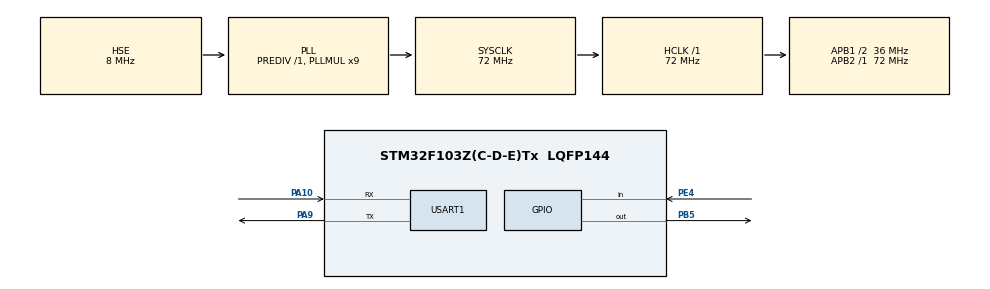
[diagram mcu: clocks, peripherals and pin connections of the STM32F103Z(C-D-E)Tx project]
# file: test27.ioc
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Dma.Request0=USART1_TX
Dma.USART1_TX.0.Direction=DMA_MEMORY_TO_PERIPH
Dma.USART1_TX.0.Instance=DMA1_Channel4
Dma.USART1_TX.0.MemDataAlignment=DMA_MDATAALIGN_BYTE
Dma.USART1_TX.0.MemInc=DMA_MINC_ENABLE
Dma.USART1_TX.0.Mode=DMA_NORMAL
Dma.USART1_TX.0.PeriphDataAlignment=DMA_PDATAALIGN_BYTE
Dma.USART1_TX.0.PeriphInc=DMA_PINC_DISABLE
Dma.USART1_TX.0.Priority=DMA_PRIORITY_MEDIUM
Mcu.Family=STM32F1
Mcu.Name=STM32F103Z(C-D-E)Tx
Mcu.Package=LQFP144
NVIC.DMA1_Channel4_IRQn=true\:0\:0\:false\:false\:true\:false\:true\:true
NVIC.PriorityGroup=NVIC_PRIORITYGROUP_4
NVIC.USART1_IRQn=true\:0\:0\:false\:false\:true\:true\:true\:true
OSC_IN.Mode=HSE-External-Oscillator
OSC_IN.Signal=RCC_OSC_IN
OSC_OUT.Mode=HSE-External-Oscillator
OSC_OUT.Signal=RCC_OSC_OUT
PA10.Mode=Asynchronous
PA10.Signal=USART1_RX
PA13.Mode=Serial_Wire
PA13.Signal=SYS_JTMS-SWDIO
PA14.Mode=Serial_Wire
PA14.Signal=SYS_JTCK-SWCLK
PA9.Mode=Asynchronous
PA9.Signal=USART1_TX
PB5.GPIO_PuPd=GPIO_PULLUP
PB5.GPIO_Speed=GPIO_SPEED_FREQ_HIGH
PB5.PinState=GPIO_PIN_SET
PB5.Signal=GPIO_Output
PE4.Signal=GPIO_Input
ProjectManager.HeapSize=0x200
ProjectManager.StackSize=0x400
ProjectManager.TargetToolchain=MDK-ARM V5.32
RCC.AHBFreq_Value=72000000
RCC.APB1CLKDivider=RCC_HCLK_DIV2
RCC.APB1Freq_Value=36000000
RCC.APB1TimFreq_Value=72000000
RCC.APB2Freq_Value=72000000
RCC.APB2TimFreq_Value=72000000
RCC.HCLKFreq_Value=72000000
RCC.PLLMUL=RCC_PLL_MUL9
RCC.PLLSourceVirtual=RCC_PLLSOURCE_HSE
RCC.SYSCLKFreq_VALUE=72000000
RCC.SYSCLKSource=RCC_SYSCLKSOURCE_PLLCLK
RCC.USBFreq_Value=72000000
USART1.VirtualMode=VM_ASYNC
board=custom

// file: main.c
/* USER CODE BEGIN Header */
/**
  ******************************************************************************
  * @file           : main.c
  * @brief          : Main program body
  ******************************************************************************
  * @attention
  *
  * Copyright (c) 2023 STMicroelectronics.
  * All rights reserved.
  *
  * This software is licensed under terms that can be found in the LICENSE file
  * in the root directory of this software component.
  * If no LICENSE file comes with this software, it is provided AS-IS.
  *
  ******************************************************************************
  */
/* USER CODE END Header */
#include "main.h"
#include "dma.h"
#include "usart.h"
#include "gpio.h"

/* USER CODE BEGIN PD */
#define KEY0 HAL_GPIO_ReadPin(GPIOE,GPIO_PIN_4)
#define KEY0_PRES 1
/* USER CODE END PD */

/* USER CODE BEGIN PV */
uint8_t DMA_TX_Buffer[]="Hello World!\r\n";
/* USER CODE END PV */

void SystemClock_Config(void);

/* USER CODE BEGIN 0 */
uint8_t KEY_Scan(uint8_t mode)
{
  static uint8_t key_up=1;
  if(mode==1)key_up=1;
  if(key_up&&(KEY0==0))
  {
    HAL_Delay(10);
    key_up=0;
    if(KEY0==0) return KEY0_PRES;
  }else if(KEY0==1)key_up=1;
  return 0;
}

void key_proc()
{
  uint8_t key=KEY_Scan(0);
  if(key==KEY0_PRES)
  {
    HAL_UART_Transmit_DMA(&huart1,DMA_TX_Buffer,15);
    HAL_GPIO_TogglePin(GPIOB,GPIO_PIN_5);
  }
}
/* USER CODE END 0 */

int main(void)
{

  /* MCU Configuration--------------------------------------------------------*/

  /* Reset of all peripherals, Initializes the Flash interface and the Systick. */
  HAL_Init();

  /* Configure the system clock */
  SystemClock_Config();

  /* Initialize all configured peripherals */
  MX_GPIO_Init();
  MX_DMA_Init();
  MX_USART1_UART_Init();

  /* Infinite loop */
  while (1)
  {

    /* USER CODE BEGIN 3 */
    key_proc();
  }
  /* USER CODE END 3 */
}

void SystemClock_Config(void)
{
  RCC_OscInitTypeDef RCC_OscInitStruct = {0};
  RCC_ClkInitTypeDef RCC_ClkInitStruct = {0};

  /** Initializes the RCC Oscillators according to the specified parameters
  * in the RCC_OscInitTypeDef structure.
  */
  RCC_OscInitStruct.OscillatorType = RCC_OSCILLATORTYPE_HSE;
  RCC_OscInitStruct.HSEState = RCC_HSE_ON;
  RCC_OscInitStruct.HSEPredivValue = RCC_HSE_PREDIV_DIV1;
  RCC_OscInitStruct.HSIState = RCC_HSI_ON;
  RCC_OscInitStruct.PLL.PLLState = RCC_PLL_ON;
  RCC_OscInitStruct.PLL.PLLSource = RCC_PLLSOURCE_HSE;
  RCC_OscInitStruct.PLL.PLLMUL = RCC_PLL_MUL9;
  if (HAL_RCC_OscConfig(&RCC_OscInitStruct) != HAL_OK)
  {
    Error_Handler();
  }

  /** Initializes the CPU, AHB and APB buses clocks
  */
  RCC_ClkInitStruct.ClockType = RCC_CLOCKTYPE_HCLK|RCC_CLOCKTYPE_SYSCLK
                              |RCC_CLOCKTYPE_PCLK1|RCC_CLOCKTYPE_PCLK2;
  RCC_ClkInitStruct.SYSCLKSource = RCC_SYSCLKSOURCE_PLLCLK;
  RCC_ClkInitStruct.AHBCLKDivider = RCC_SYSCLK_DIV1;
  RCC_ClkInitStruct.APB1CLKDivider = RCC_HCLK_DIV2;
  RCC_ClkInitStruct.APB2CLKDivider = RCC_HCLK_DIV1;

  if (HAL_RCC_ClockConfig(&RCC_ClkInitStruct, FLASH_LATENCY_2) != HAL_OK)
  {
    Error_Handler();
  }
}

void Error_Handler(void)
{
  __disable_irq();
  while (1)
  {
  }
}
